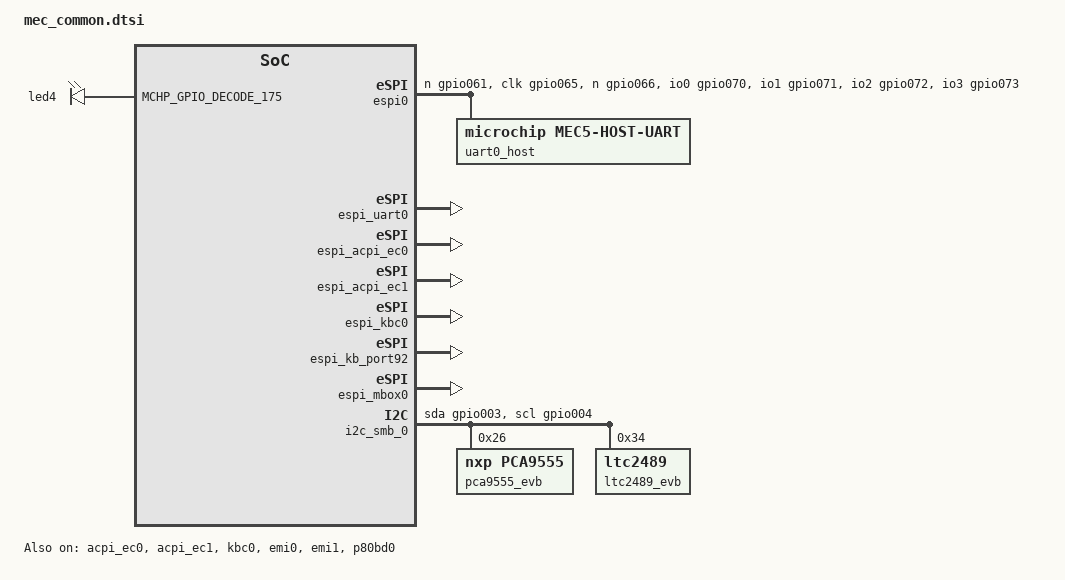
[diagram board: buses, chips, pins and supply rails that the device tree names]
/*
 * Copyright (c) 2024 Microchip Technology Inc.
 *
 * SPDX-License-Identifier: Apache-2.0
 */

#include <zephyr/dt-bindings/gpio/gpio.h>
#include <zephyr/dt-bindings/gpio/microchip-xec-gpio.h>
#include <zephyr/dt-bindings/espi/mchp-mec5-espi.h>

/* Sample runs MEC_ASSY6906 board with MEC1723N-LJ or MEC1723N-SZ CPU card installed. */

/ {
	chosen {
		espi,os-acpi = &acpi_ec0;
		espi,host-cmd-acpi = &acpi_ec1;
		espi,host-mailbox = &mbox0;
		espi,host-shm = &emi0;
		espi,host-em8042 = &kbc0;
		espi,host-uart = &uart0;
		espi,host-io-capture = &p80bd0;
	};

	aliases {
		spi0 = &qspi0;
		led0 = &led4;
		i2c0 = &i2c_smb_0;
		i2c-0 = &i2c_smb_0;
	};

	leds {
		compatible = "gpio-leds";
		led4: led_0 {
			gpios = <MCHP_GPIO_DECODE_175 GPIO_ACTIVE_HIGH>;
		};
	};

	/* zephyr,user is a special case node for application & test use
	 * This node does not require a YAML binding file.
	 * espi-gpio pins
	 * index 0 = Target nREADY output to Host eSPI emulator
	 * index 1 = VCC_PWRGD_ALT drivent by external eSPI Emulated Host board
	 * In application code use GPIO_DT_SPEC_GET_BY_IDX() macro.
	 */
	zephyr,user {
		espi-gpios = <MCHP_GPIO_DECODE_031 GPIO_ACTIVE_HIGH>,
			     <MCHP_GPIO_DECODE_242 0>;
		pinctrl-0 = <&vcc_pwrgd_alt_gpio242 &pwrok_gpio106>;
		pinctrl-names = "default";
	};
};

&i2c00_scl_gpio004 {
	drive-open-drain;
	output-enable;
	output-high;
	drive-strength = "4x";
};

&i2c00_sda_gpio003 {
	drive-open-drain;
	output-enable;
	output-high;
	drive-strength = "4x";
};

/* ---- eSPI and peripheral channel devices ---- */

&espi0 {
	status = "okay";
	pinctrl-0 = < &espi_reset_n_gpio061
		      &espi_clk_gpio065 &espi_cs_n_gpio066
		      &espi_io0_gpio070 &espi_io1_gpio071
		      &espi_io2_gpio072 &espi_io3_gpio073 >;
	pinctrl-names = "default";
	host-memmap-addr-high = <0x10>; /* bits[47:32] of Host address for memory mapped LDNs */
	sram-bar-addr-high = <0x20>; /* bits[47:32] of Host address for SRAM BARs */

	/* We create a node here for the UART we will expose to the Host
	 * Doing this makes sure this node is a child of espi0 required
	 * by espi0's driver.
	 */
	uart0_host: uart0_host {
		compatible = "microchip,mec5-host-uart";
		pinctrl-0 = < &uart0_tx_gpio104 &uart0_rx_gpio105 >;
		pinctrl-names = "default";
		hwdev = <&uart0>;
		host-infos = <&espi_uart0>;
		status = "okay";
	};
};

/* Map UART0 to Host I/O address space */
&espi_uart0 {
	host-address = <0x3f8>;
	sirqs = <4>;
	status = "okay";
};

/* Enable eSPI SRAM BAR0 to map a 256 byte region of EC SRAM to Host
 * address space with read-only access.
 * ISSUE: region-base, shouldn't this be the address of an application buffer?
 */
&espi_sram_bar0 {
	host-address-lsw = <0x20000000>;
	region-base = <0x118000>;
	region-size = "256B";
	access = "READ_ONLY";
	status = "okay";
};

/* Enable eSPI SRAM BAR1 to map a 256 byte region of EC SRAM to Host
 * address space with write-only access.
 */
&espi_sram_bar1 {
	host-address-lsw = <0x20001000>;
	region-base = <0x118100>;
	region-size = "256B";
	access = "WRITE_ONLY";
	status = "okay";
};

/* eSPI Host OS ACPI_EC device */
&acpi_ec0 {
	compatible = "microchip,mec5-acpi-ec-os";
	host-infos = <&espi_acpi_ec0>;
	status = "okay";
};

&espi_acpi_ec0 {
	host-address = <0x62>;
	sirqs = <5>;
	sirq-names = "ec_obf";
	status = "okay";
};

/* eSPI Host command ACPI_EC device */
&acpi_ec1 {
	compatible = "microchip,mec5-acpi-ec-hcmd";
	host-infos = <&espi_acpi_ec1>;
	status = "okay";
};

&espi_acpi_ec1 {
	host-address = <0x200>;
	sirqs = <0xff>;
	sirq-names = "ec_obf";
	status = "okay";
};

/* Use eSPI Host KBC driver and map KBC0 and KB Port92h to Host I/O space */
&kbc0 {
	compatible = "microchip,mec5-kbc";
	host-infos = <&espi_kbc0 &espi_kb_port92>;
	status = "okay";
};

&espi_kbc0 {
	host-address = <0x60>;
	sirqs = <1 12>;
	sirq-names = "kirq", "mirq";
	status = "okay";
};

&espi_kb_port92 {
	host-address = <0x92>;
	status = "okay";
};

/* Use eSPI Mailbox driver and map mailbox to Host I/O space */
&mbox0 {
	compatible="microchip,mec5-mailbox";
	host-infos = <&espi_mbox0>;
	status = "okay";
};

&espi_mbox0 {
	host-address = <0x300>;
	sirqs = <0xff 0xff>;
	status = "okay";
};

/* Map EMI0 to Host memory address space. */
&emi0 {
	compatible = "microchip,mec5-shm-emi";
	host-infos = <&espi_emi0>;
	status = "okay";
};

&espi_emi0 {
	host-address = <0x10000000>;
	host-mem-space;
};

/* Map EMI1 to Host memory address space */
&emi1 {
	compatible = "microchip,mec5-shm-emi";
	host-infos = <&espi_emi1>;
	status = "okay";
};

&espi_emi1 {
	host-address = <0x10001000>;
	host-mem-space;
};

/* eSPI Host I/O capture device. Map 4-byte Host I/O capture range and
 * optional 1-byte I/O alias.
 */
&p80bd0 {
	compatible = "microchip,mec5-bdp";
	host-infos = <&espi_bdp0 &espi_bdpa0>;
	status = "okay";
};

&espi_bdp0 {
	host-address = <0x80>;
};

&espi_bdpa0 {
	host-address = <0x90>;
	bdp-host-alias-byte-lane = <1>;
};

&i2c_smb_0 {
	status = "okay";
	port_sel = < 0 >;
	sda-gpios = < MCHP_GPIO_DECODE_003 0 >;
	scl-gpios = < MCHP_GPIO_DECODE_004 0 >;
	pinctrl-0 = < &i2c00_sda_gpio003 &i2c00_scl_gpio004 >;
	pinctrl-names = "default";

	pca9555_evb: pca9555@26 {
		compatible = "nxp,pca9555";
		reg = <0x26>;
		gpio-controller;
		#gpio-cells = <2>;
	};

	ltc2489_evb: ltc2489@34 {
		/* No Zephyr driver exists */
		reg = <0x34>;
		#io-channels-cells = <1>;
	};
};
